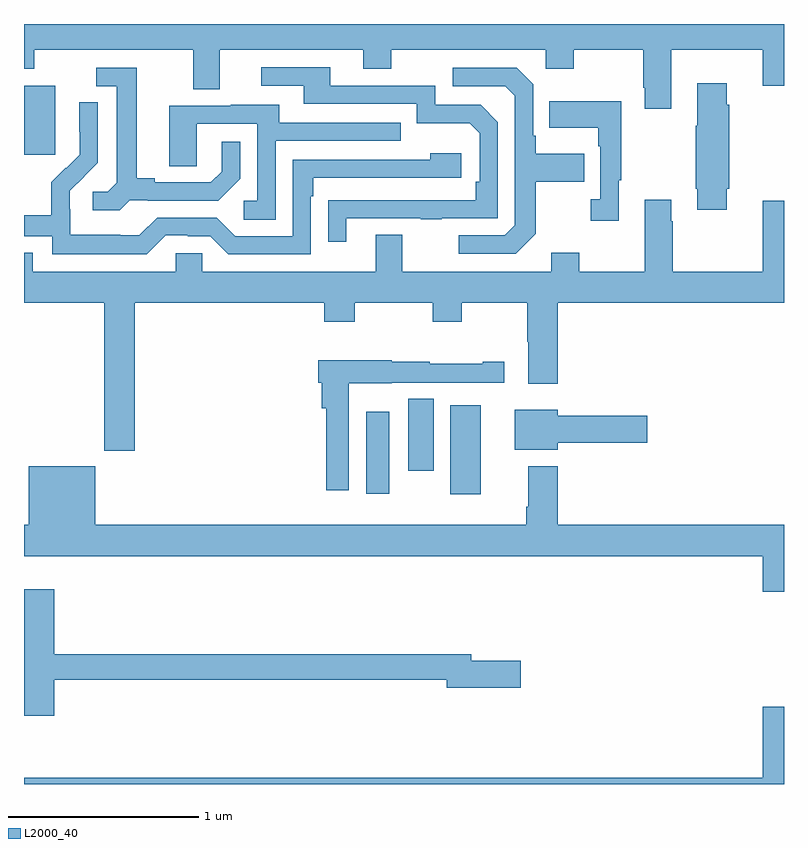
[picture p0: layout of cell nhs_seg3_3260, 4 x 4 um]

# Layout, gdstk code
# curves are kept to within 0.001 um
import gdstk
lib = gdstk.Library(unit=1e-6, precision=1e-09)
def R(c, l, rs):  # rectangles x0, y0, x1, y1
    for r in rs: c.add(gdstk.rectangle(r[:2], r[2:], *l))
def P(c, l, *ps):  # polygons
    for p in ps: c.add(gdstk.Polygon(p, *l))
L2000_40 = (2000, 40)

nhs_seg3_3260 = lib.new_cell('nhs_seg3_3260')
R(nhs_seg3_3260, L2000_40, [(283.244,683.925,283.405,684.394), (282.8,683.928,282.922,684.358), (283.022,684.048,283.156,684.428), (281,685.713,281.164,686.074)])
P(nhs_seg3_3260, L2000_40, [(284.407,686.264),(284.888,686.264),(284.888,686.076),(285,686.076),(285,686.4),(281,686.4),(281,686.165),(281.055,686.165),(281.055,686.264),(281.891,686.264),(281.891,686.056),(282.031,686.056),(282.031,686.264),(282.785,686.264),(282.785,686.165),(282.933,686.165),(282.933,686.264),(283.746,686.264),(283.746,686.165),(283.893,686.165),(283.893,686.264),(284.26,686.264),(284.26,686.065),(284.267,686.065),(284.267,685.953),(284.407,685.953)],
  [(282.697,685.377),(283.087,685.377),(283.087,685.372),(283.199,685.372),(283.199,685.377),(283.494,685.377),(283.494,685.884),(283.404,685.974),(283.164,685.974),(283.164,686.076),(282.613,686.076),(282.613,686.172),(282.249,686.172),(282.249,686.076),(282.473,686.076),(282.473,685.98),(283.068,685.98),(283.068,685.877),(283.345,685.877),(283.398,685.824),(283.398,685.57),(283.378,685.57),(283.378,685.473),(282.601,685.472),(282.601,685.254),(282.697,685.254)],
  [(281.556,685.473),(281.65,685.473),(281.65,685.47),(282.022,685.47),(282.138,685.586),(282.138,685.78),(282.041,685.78),(282.041,685.623),(281.984,685.566),(281.689,685.566),(281.689,685.589),(281.593,685.589),(281.593,686.169),(281.379,686.169),(281.379,686.073),(281.489,686.073),(281.489,685.565),(281.442,685.518),(281.361,685.518),(281.361,685.421),(281.504,685.421)],
  [(283.693,685.297),(283.693,685.57),(283.949,685.57),(283.949,685.717),(283.693,685.717),(283.693,685.813),(283.68,685.813),(283.68,686.082),(283.593,686.169),(283.257,686.169),(283.257,686.073),(283.533,686.073),(283.584,686.022),(283.584,685.341),(283.53,685.287),(283.287,685.287),(283.287,685.191),(283.587,685.191)],
  [(284.698,685.534),(284.711,685.534),(284.711,685.976),(284.698,685.976),(284.698,686.089),(284.543,686.089),(284.543,685.865),(284.536,685.865),(284.536,685.534),(284.543,685.534),(284.543,685.422),(284.698,685.422)],
  [(284.131,685.577),(284.143,685.577),(284.143,685.993),(283.765,685.993),(283.765,685.853),(284.022,685.853),(284.022,685.757),(284.034,685.757),(284.034,685.478),(283.983,685.478),(283.983,685.365),(284.131,685.365)],
  [(281.745,685.287),(281.861,685.287),(281.861,685.284),(281.979,685.284),(282.075,685.188),(282.51,685.188),(282.51,685.493),(282.523,685.493),(282.523,685.59),(283.3,685.59),(283.3,685.72),(283.139,685.72),(283.139,685.686),(282.414,685.686),(282.414,685.284),(282.111,685.284),(282.015,685.38),(281.7,685.38),(281.607,685.287),(281.507,685.287),(281.507,685.291),(281.244,685.291),(281.244,685.425),(281.242,685.425),(281.242,685.522),(281.388,685.67),(281.388,685.988),(281.292,685.988),(281.292,685.834),(281.294,685.834),(281.294,685.712),(281.223,685.641),(281.22,685.644),(281.143,685.567),(281.143,685.393),(281,685.393),(281,685.284),(281.148,685.284),(281.148,685.187),(281.645,685.187)],
  [(282.324,685.785),(282.983,685.785),(282.983,685.881),(282.343,685.881),(282.343,685.975),(282.089,685.975),(282.089,685.971),(281.765,685.971),(281.765,685.651),(281.91,685.651),(281.91,685.875),(282.228,685.875),(282.228,685.47),(282.156,685.47),(282.156,685.369),(282.324,685.369)],
  [(281.582,684.932),(282.581,684.932),(282.581,684.833),(282.741,684.833),(282.741,684.932),(283.15,684.932),(283.15,684.833),(283.305,684.833),(283.305,684.932),(283.648,684.932),(283.648,684.728),(283.655,684.728),(283.655,684.507),(283.808,684.507),(283.808,684.932),(285,684.932),(285,685.471),(284.888,685.471),(284.888,685.096),(284.415,685.096),(284.415,685.361),(284.407,685.361),(284.407,685.474),(284.267,685.474),(284.267,685.096),(283.923,685.096),(283.923,685.195),(283.775,685.195),(283.775,685.096),(282.991,685.096),(282.991,685.291),(282.851,685.291),(282.851,685.096),(281.937,685.096),(281.937,685.194),(281.799,685.194),(281.799,685.096),(281.047,685.096),(281.047,685.195),(281,685.195),(281,684.932),(281.422,684.932),(281.422,684.153),(281.582,684.153)],
  [(282.708,684.509),(282.936,684.509),(282.936,684.513),(283.528,684.513),(283.528,684.622),(283.415,684.622),(283.415,684.612),(283.136,684.612),(283.136,684.622),(282.936,684.622),(282.936,684.631),(282.548,684.631),(282.548,684.513),(282.566,684.513),(282.566,684.377),(282.592,684.377),(282.592,683.946),(282.708,683.946)],
  [(283.81,684.196),(284.281,684.196),(284.281,684.338),(283.81,684.338),(283.81,684.37),(283.583,684.37),(283.583,684.158),(283.81,684.158)],
  [(285,683.764),(283.808,683.764),(283.808,684.073),(283.655,684.073),(283.655,683.86),(283.643,683.86),(283.643,683.764),(281.374,683.764),(281.374,684.073),(281.024,684.073),(281.024,683.764),(281,683.764),(281,683.6),(284.888,683.6),(284.888,683.412),(285,683.412)],
  [(281.159,682.948),(283.226,682.948),(283.226,682.906),(283.615,682.906),(283.615,683.048),(283.354,683.048),(283.354,683.084),(281.159,683.084),(281.159,683.425),(281,683.425),(281,682.758),(281.159,682.758)],
  [(285,682.807),(284.888,682.807),(284.888,682.432),(281,682.432),(281,682.4),(285,682.4)])

lib.write_gds('nhs_seg3_3260.gds')
